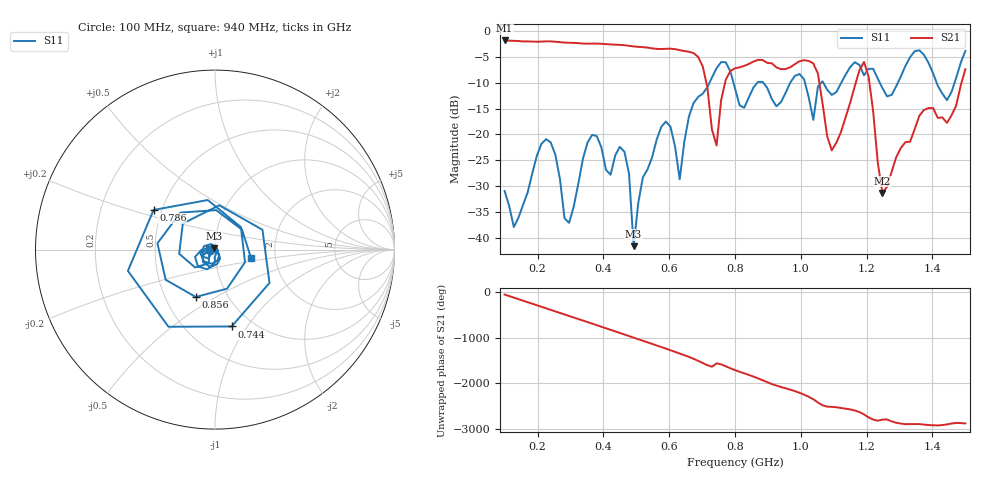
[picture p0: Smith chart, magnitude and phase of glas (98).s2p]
! NanoVNA-App
! Date: 2025-09-25 15:56:14
! Start: 100MHz Stop: 1,5GHz Points: 101
! S-Parameter data: F S11 S21 S12 S22
# Hz S RI R 50
!  Frequency  S11_Real  S11_Imag  S21_Real  S21_Imag  S12_Real  S12_Imag  S22_Real  S22_Imag
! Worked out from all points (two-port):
!   101 points, 100 MHz to 1.5 GHz, reference 50 ohm
!   highest |S21| = -1.80 dB at 100 MHz (marker M1); lowest = -31.4 dB at 1.248 GHz (marker M2)
!   |S21| within 3 dB of the highest: start of sweep to 684.4 MHz
!   lowest |S11| = -41.6 dB at 492 MHz (marker M3), VSWR 1.02, Z = 49.5 + j0.621 ohm
!   |S11| at or under -10 dB: start of sweep to 722.4 MHz; 795.4 MHz to 867.9 MHz (72.48 MHz wide, 8.72 % of centre); 886.1 MHz to 967.7 MHz (81.63 MHz wide, 8.81 % of centre) (the widest 3 of 7)
!   S12 and S22 are empty: the file has one direction only
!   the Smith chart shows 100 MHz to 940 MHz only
!   S11 on the Smith chart (normalised r, x): 100 MHz: 0.95, -0.01; 744 MHz: 0.80, -0.85; 786 MHz: 0.45, +0.24; 856 MHz: 0.71, -0.41; 940 MHz: 1.49, -0.15
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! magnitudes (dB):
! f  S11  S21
! 100 MHz  -31.0  -1.8
! 128 MHz  -37.9  -1.9
! 226 MHz  -20.9  -2.0
! 296 MHz  -37.1  -2.2
! 338 MHz  -24.7  -2.4
! 464 MHz  -23.3  -2.7
! 492 MHz  -41.6  -3.0
! 576 MHz  -18.5  -3.5
! 632 MHz  -28.7  -3.7
! 702 MHz  -12.1  -6.8
! 744 MHz  -7.2  -22.1
! 786 MHz  -7.8  -7.7
! 800 MHz  -11.1  -7.2
! 856 MHz  -10.9  -5.9
! 940 MHz  -13.7  -7.4
! 1.038 GHz  -17.2  -6.2
! 1.094 GHz  -12.4  -23.1
! 1.192 GHz  -8.6  -6.0
! 1.248 GHz  -11.0  -31.4
! 1.276 GHz  -12.3  -27.2
! 1.444 GHz  -13.4  -17.8
! 1.5 GHz  -3.8  -7.4
